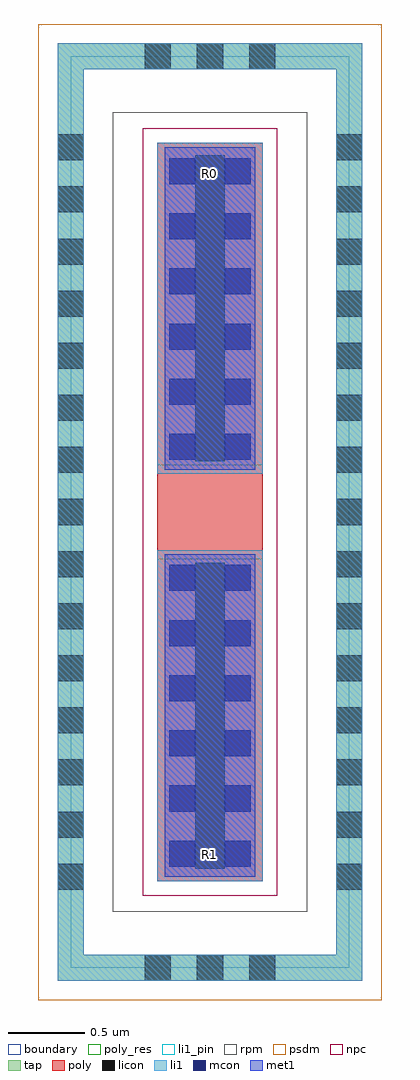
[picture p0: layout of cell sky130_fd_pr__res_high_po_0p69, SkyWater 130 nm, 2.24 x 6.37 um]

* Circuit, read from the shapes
.subckt sky130_fd_pr__res_high_po_0p69 R0 R1
XR1 R0 R1 VSUBS sky130_fd_pr__res_high_po w=0.69 l=0.5
.ends

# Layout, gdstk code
import gdstk
lib = gdstk.Library(unit=1e-6, precision=1e-09)
def R(c, l, rs):  # rectangles x0, y0, x1, y1
    for r in rs: c.add(gdstk.rectangle(r[:2], r[2:], *l))
def A(c, l, x, y, w, h, nx, ny, dx, dy):  # array of equal rectangles
    R(c, l, [(x+i*dx, y+j*dy, x+i*dx+w, y+j*dy+h) for i in range(nx) for j in range(ny)])
tap = (65, 44)
poly_res = (66, 13)
poly = (66, 20)
licon = (66, 44)
li1_pin = (67, 16)
li1 = (67, 20)
mcon = (67, 44)
met1 = (68, 20)
rpm = (86, 20)
psdm = (94, 20)
npc = (95, 20)
boundary = (235, 4)

sky130_fd_pr__res_high_p = lib.new_cell('sky130_fd_pr__res_high_po_0p69')
R(sky130_fd_pr__res_high_p, tap, [(-1.15,-1.15,0.84,-0.98), (-1.15,-0.98,-0.98,4.8), (0.67,-0.98,0.84,4.8), (-1.15,4.8,0.84,4.97)])
R(sky130_fd_pr__res_high_p, poly_res, [(-0.5,1.6,0.19,2.22)])
R(sky130_fd_pr__res_high_p, poly, [(-0.5,-0.5,0.19,4.32)])
A(sky130_fd_pr__res_high_p, licon, -0.58, -1.15, 0.17, 0.17, 3, 2, 0.34, 5.95)
A(sky130_fd_pr__res_high_p, licon, -1.15, -0.555, 0.17, 0.17, 1, 15, 0, 0.34)
A(sky130_fd_pr__res_high_p, licon, 0.67, -0.555, 0.17, 0.17, 1, 15, 0, 0.34)
R(sky130_fd_pr__res_high_p, licon, [(-0.25,-0.42,-0.06,1.58), (-0.25,2.24,-0.06,4.24)])
R(sky130_fd_pr__res_high_p, li1_pin, [(-0.202,-0.371,-0.101,-0.256), (-0.199,4.074,-0.098,4.189)])
R(sky130_fd_pr__res_high_p, li1, [(-1.15,-1.15,0.84,-0.98), (-1.15,-0.98,-0.98,4.8), (0.67,-0.98,0.84,4.8), (-0.5,-0.5,0.19,1.66), (-0.5,2.16,0.19,4.32), (-1.15,4.8,0.84,4.97)])
A(sky130_fd_pr__res_high_p, mcon, -0.42, -0.405, 0.17, 0.17, 1, 6, 0, 0.36)
A(sky130_fd_pr__res_high_p, mcon, -0.06, -0.405, 0.17, 0.17, 1, 6, 0, 0.36)
A(sky130_fd_pr__res_high_p, mcon, -0.42, 2.25, 0.17, 0.17, 1, 6, 0, 0.36)
A(sky130_fd_pr__res_high_p, mcon, -0.06, 2.25, 0.17, 0.17, 1, 6, 0, 0.36)
R(sky130_fd_pr__res_high_p, met1, [(-0.45,-0.47,0.14,1.635), (-0.45,2.185,0.14,4.29)])
R(sky130_fd_pr__res_high_p, rpm, [(-0.79,-0.7,0.48,4.52)])
R(sky130_fd_pr__res_high_p, psdm, [(-1.275,-1.275,0.965,5.095)])
R(sky130_fd_pr__res_high_p, npc, [(-0.595,-0.595,0.285,4.415)])
R(sky130_fd_pr__res_high_p, boundary, [(-1.065,-1.065,0.755,4.885)])
sky130_fd_pr__res_high_p.add(gdstk.Label('R0', (-0.158,4.12), layer=67, texttype=5))
sky130_fd_pr__res_high_p.add(gdstk.Label('R1', (-0.161,-0.325), layer=67, texttype=5))

lib.write_gds('sky130_fd_pr__res_high_po_0p69.gds')
